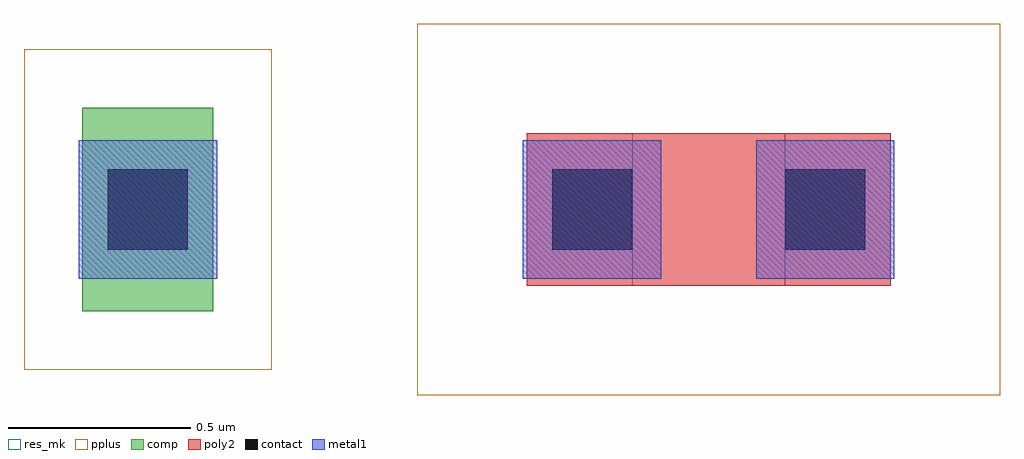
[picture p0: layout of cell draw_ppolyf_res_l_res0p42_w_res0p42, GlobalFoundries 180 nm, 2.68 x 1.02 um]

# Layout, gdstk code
import gdstk
lib = gdstk.Library(unit=1e-6, precision=1e-09)
def R(c, l, rs):  # rectangles x0, y0, x1, y1
    for r in rs: c.add(gdstk.rectangle(r[:2], r[2:], *l))
comp = (22, 0)
poly2 = (30, 0)
pplus = (31, 0)
contact = (33, 0)
metal1 = (34, 0)
res_mk = (110, 5)

draw_ppolyf_res_l_res0p4 = lib.new_cell('draw_ppolyf_res_l_res0p42_w_res0p42')
R(draw_ppolyf_res_l_res0p4, comp, [(-1.51,-0.07,-1.15,0.49)])
R(draw_ppolyf_res_l_res0p4, poly2, [(-0.29,0,0.71,0.42)])
R(draw_ppolyf_res_l_res0p4, pplus, [(-0.59,-0.3,1.01,0.72), (-1.67,-0.23,-0.99,0.65)])
R(draw_ppolyf_res_l_res0p4, contact, [(-1.44,0.1,-1.22,0.32), (-0.22,0.1,0,0.32), (0.42,0.1,0.64,0.32)])
R(draw_ppolyf_res_l_res0p4, metal1, [(-1.52,0.02,-1.14,0.4), (-0.3,0.02,0.08,0.4), (0.34,0.02,0.72,0.4)])
R(draw_ppolyf_res_l_res0p4, res_mk, [(0,0,0.42,0.42)])

lib.write_gds('draw_ppolyf_res_l_res0p42_w_res0p42.gds')
